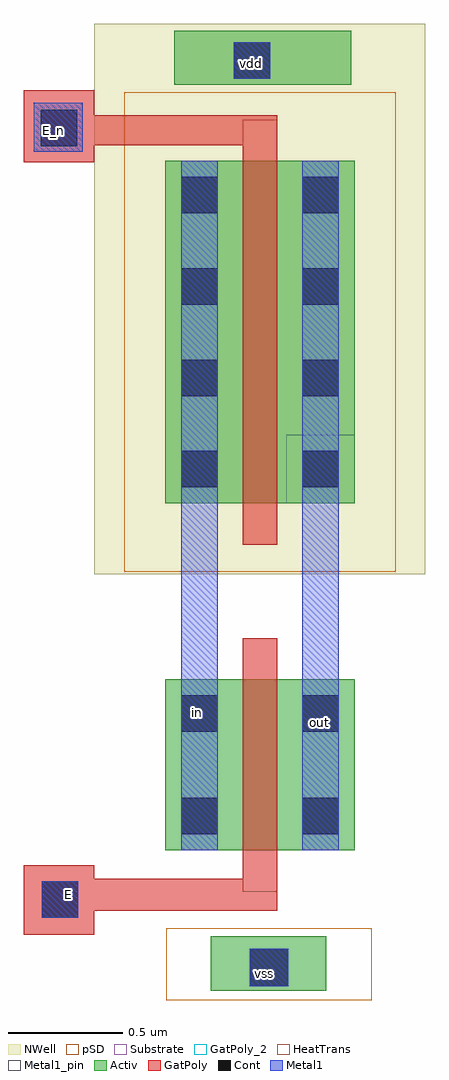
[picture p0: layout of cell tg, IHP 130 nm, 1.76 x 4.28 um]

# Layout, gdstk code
import gdstk
lib = gdstk.Library(unit=1e-6, precision=5e-09)
def R(c, l, rs):  # rectangles x0, y0, x1, y1
    for r in rs: c.add(gdstk.rectangle(r[:2], r[2:], *l))
def A(c, l, x, y, w, h, nx, ny, dx, dy):  # array of equal rectangles
    R(c, l, [(x+i*dx, y+j*dy, x+i*dx+w, y+j*dy+h) for i in range(nx) for j in range(ny)])
Activ = (1, 0)
GatPoly = (5, 0)
GatPoly_2 = (5, 2)
Cont = (6, 0)
Metal1 = (8, 0)
Metal1_pin = (8, 2)
pSD = (14, 0)
NWell = (31, 0)
Substrate = (40, 0)
HeatTrans = (51, 0)

pmos_1 = lib.new_cell('pmos$1')
R(pmos_1, Activ, [(0,0,0.3,0.3), (0,0,0.83,1.5), (0.53,0,0.83,0.3)])
R(pmos_1, GatPoly, [(0.34,-0.18,0.49,1.68), (0.34,-0.18,0.49,1.68)])
A(pmos_1, Cont, 0.07, 0.07, 0.16, 0.16, 1, 4, 0, 0.4)
A(pmos_1, Cont, 0.6, 0.07, 0.16, 0.16, 1, 4, 0, 0.4)
R(pmos_1, Metal1, [(0.07,0,0.23,1.5), (0.07,0,0.23,1.5), (0.6,0,0.76,1.5), (0.6,0,0.76,1.5)])
R(pmos_1, pSD, [(-0.18,-0.3,1.01,1.8)])
R(pmos_1, NWell, [(-0.31,-0.31,1.14,1.81)])
R(pmos_1, Substrate, [(0.53,0,0.83,0.3)])
R(pmos_1, HeatTrans, [(0.34,-0.18,0.49,1.68)])
pmos_1.add(gdstk.Label('pmos', (0.415,0.75), layer=63, texttype=0))
pmos_1.add(gdstk.Label('pmos', (0.415,0.75), layer=51, texttype=0))

nmos_1 = lib.new_cell('nmos$1')
R(nmos_1, Activ, [(0,0,0.3,0.3), (0,0,0.83,0.75), (0.53,0,0.83,0.3)])
R(nmos_1, GatPoly, [(0.34,-0.18,0.49,0.93)])
R(nmos_1, GatPoly_2, [(0.34,-0.18,0.49,0.93)])
R(nmos_1, Cont, [(0.07,0.07,0.23,0.23), (0.6,0.07,0.76,0.23), (0.07,0.52,0.23,0.68), (0.6,0.52,0.76,0.68)])
R(nmos_1, Metal1, [(0.07,0,0.23,0.75), (0.6,0,0.76,0.75)])
R(nmos_1, Metal1_pin, [(0.07,0,0.23,0.75), (0.6,0,0.76,0.75)])
R(nmos_1, HeatTrans, [(0.34,-0.18,0.49,0.93)])
nmos_1.add(gdstk.Label('nmos', (0.415,0.375), layer=63, texttype=0))
nmos_1.add(gdstk.Label('nmos', (0.415,0.375), layer=51, texttype=0))

c_tg = lib.new_cell('tg')
R(c_tg, Activ, [(-0.79,-0.42,-0.285,-0.18), (-0.95,3.55,-0.175,3.785)])
R(c_tg, GatPoly, [(-1.61,-0.175,-1.3,0.13), (-1.3,-0.07,-0.5,0.07), (-1.61,3.21,-1.3,3.525), (-1.3,3.285,-0.5,3.415)])
R(c_tg, Cont, [(-0.62,-0.4,-0.45,-0.235), (-1.53,-0.1,-1.37,0.06), (-1.535,3.28,-1.375,3.44), (-0.69,3.575,-0.53,3.735), (-0.69,3.575,-0.53,3.735)])
R(c_tg, Metal1, [(-0.62,-0.4,-0.45,-0.235), (-1.53,-0.1,-1.37,0.06), (-0.92,0.715,-0.76,0.875), (-0.39,0.715,-0.23,0.875), (-0.92,0.945,-0.76,1.715), (-0.39,0.945,-0.23,1.715), (-1.565,3.255,-1.35,3.47), (-0.69,3.575,-0.53,3.735)])
R(c_tg, Metal1_pin, [(-0.62,-0.4,-0.45,-0.235), (-1.53,-0.1,-1.37,0.06), (-0.92,0.715,-0.76,0.875), (-0.39,0.715,-0.23,0.875), (-1.535,3.28,-1.375,3.44), (-0.69,3.575,-0.53,3.735)])
R(c_tg, pSD, [(-0.985,-0.46,-0.085,-0.145)])
R(c_tg, NWell, [(-1.3,3.525,0.15,3.815)])
c_tg.add(gdstk.Reference(pmos_1, (-0.99,1.715)))
c_tg.add(gdstk.Reference(nmos_1, (-0.99,0.195)))
c_tg.add(gdstk.Label('vdd', (-0.61,3.64), layer=8, texttype=2))
c_tg.add(gdstk.Label('in', (-0.85,0.8), layer=8, texttype=2))
c_tg.add(gdstk.Label('out', (-0.315,0.755), layer=8, texttype=2))
c_tg.add(gdstk.Label('E', (-1.415,0), layer=8, texttype=2))
c_tg.add(gdstk.Label('E_n', (-1.48,3.35), layer=8, texttype=2))
c_tg.add(gdstk.Label('vss', (-0.555,-0.345), layer=8, texttype=2))

lib.write_gds('tg.gds')
